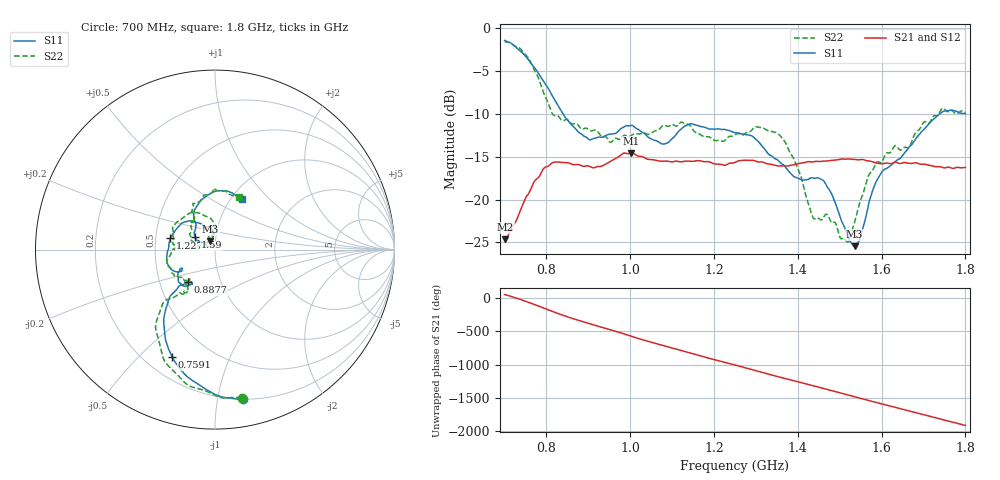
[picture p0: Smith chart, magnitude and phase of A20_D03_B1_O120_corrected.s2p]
! Created with skrf 1.9.0 (http://scikit-rf.org).
# Hz S RI R 50.0
!freq ReS11 ImS11 ReS21 ImS21 ReS12 ImS12 ReS22 ImS22
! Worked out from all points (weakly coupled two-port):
!   1601 points, 700 MHz to 1.8 GHz, reference 50 ohm
!   highest |S21| = -14.54 dB at 1.002 GHz (marker M1); lowest = -24.6 dB at 701.4 MHz (marker M2)
!   lowest |S11| = -25.4 dB at 1.535 GHz (marker M3), VSWR 1.11, Z = 47.3 + j4.46 ohm
!   |S11| at or under -10 dB: 839.2 MHz to 1.738 GHz (899 MHz wide, 69.8 % of centre)
!   |S22| runs from -25.0 to -1.5 dB; largest |S21 - S12| = 0.0036
!   S11 on the Smith chart (normalised r, x): 700 MHz: 0.20, -1.19; 759.1 MHz: 0.31, -0.63; 887.7 MHz: 0.69, -0.26; 1.227 GHz: 0.60, +0.08; 1.59 GHz: 0.79, +0.11; 1.8 GHz: 1.13, +0.70
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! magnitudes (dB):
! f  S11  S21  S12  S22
! 700 MHz  -1.4  -24.6  -24.4  -1.5
! 701.4 MHz  -1.4  -24.6  -24.3  -1.6
! 759.1 MHz  -3.8  -19.1  -19.0  -3.6
! 815.5 MHz  -8.0  -15.7  -15.7  -10.1
! 883.6 MHz  -12.3  -16.1  -15.9  -11.8
! 887.7 MHz  -12.5  -16.1  -16.0  -11.8
! 1.002 GHz  -11.3  -14.5  -14.7  -12.5
! 1.067 GHz  -13.2  -15.5  -15.4  -11.9
! 1.143 GHz  -11.2  -15.5  -15.5  -11.3
! 1.227 GHz  -11.8  -16.0  -15.9  -13.1
! 1.25 GHz  -12.2  -15.7  -15.6  -12.4
! 1.357 GHz  -15.6  -16.1  -16.0  -12.5
! 1.394 GHz  -17.4  -15.9  -15.9  -15.7
! 1.434 GHz  -17.5  -15.6  -15.6  -21.8
! 1.467 GHz  -18.2  -15.5  -15.5  -21.7
! 1.517 GHz  -24.1  -15.3  -15.3  -24.9
! 1.535 GHz  -25.4  -15.3  -15.3  -22.7
! 1.59 GHz  -17.7  -15.7  -15.7  -15.6
! 1.617 GHz  -16.2  -15.8  -15.7  -14.6
! 1.665 GHz  -13.9  -15.8  -15.7  -13.9
! 1.742 GHz  -9.9  -16.2  -16.2  -9.5
! 1.8 GHz  -10.0  -16.2  -16.2  -9.8
